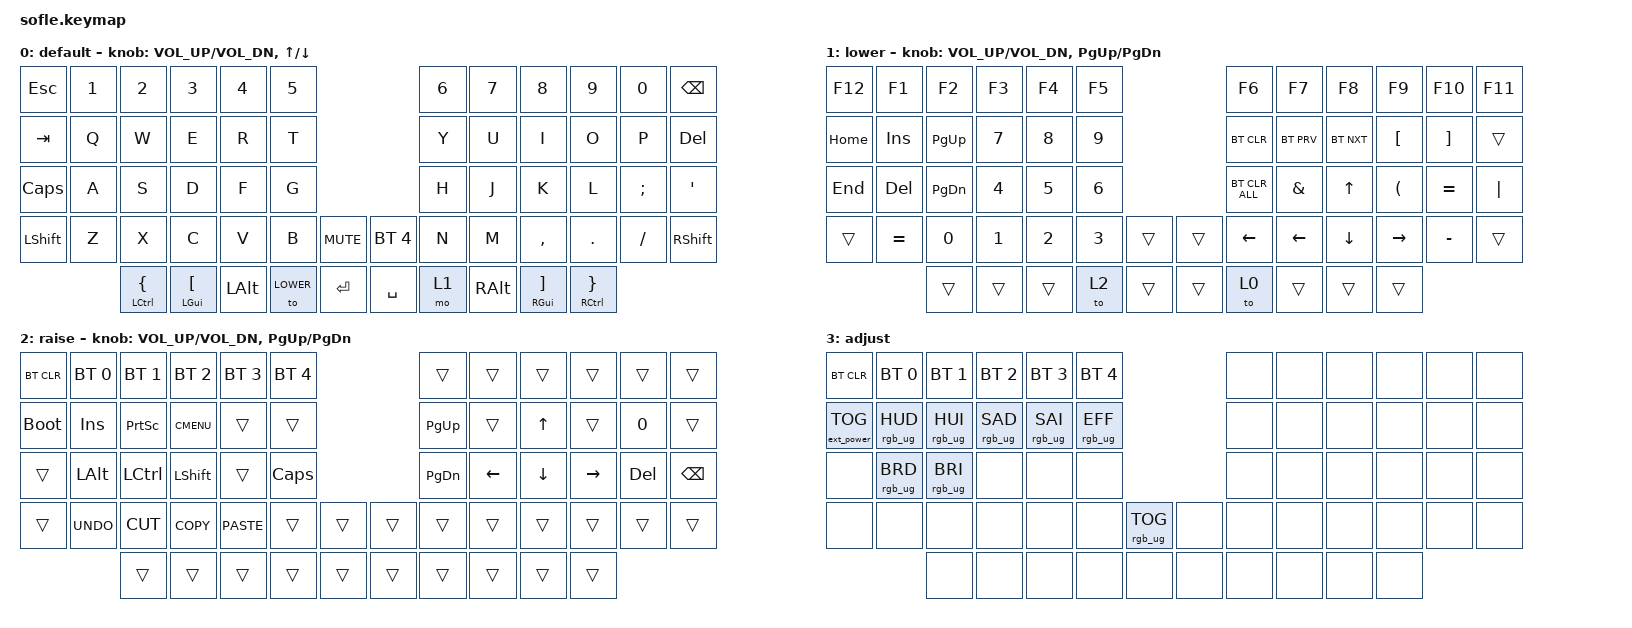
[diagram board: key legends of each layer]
/*
 * Copyright (c) 2020 The ZMK Contributors
 *
 * SPDX-License-Identifier: MIT
 */

#include <behaviors.dtsi>
#include <dt-bindings/zmk/bt.h>
#include <dt-bindings/zmk/ext_power.h>
#include <dt-bindings/zmk/keys.h>
#include <dt-bindings/zmk/rgb.h>

#define BASE 0
#define LOWER 1
#define RAISE 2
#define ADJUST 3

/ {
    // Activate ADJUST layer by pressing raise and lower

    conditional_layers {
        compatible = "zmk,conditional-layers";

        adjust_layer {
            if-layers = <LOWER RAISE>;
            then-layer = <ADJUST>;
        };
    };

    keymap {
        compatible = "zmk,keymap";

        default_layer {
            display-name = "default";

            // ------------------------------------------------------------------------------------------------------------
            // |   `   |  1  |  2  |  3   |  4   |  5   |                   |  6   |  7    |  8    |  9   |   0   |       |
            // |  ESC  |  Q  |  W  |  E   |  R   |  T   |                   |  Y   |  U    |  I    |  O   |   P   | BKSPC |
            // |  TAB  |  A  |  S  |  D   |  F   |  G   |                   |  H   |  J    |  K    |  L   |   ;   |   '   |
            // | SHIFT |  Z  |  X  |  C   |  V   |  B   |  MUTE  |  |       |  N   |  M    |  ,    |  .   |   /   | SHIFT |
            //               | GUI | ALT  | CTRL | LOWER|  ENTER |  | SPACE | RAISE| CTRL  | ALT   | GUI  |

            bindings = <
&kp ESCAPE  &kp N1  &kp N2          &kp N3                 &kp N4        &kp N5                                 &kp N6  &kp N7    &kp N8                  &kp N9          &kp N0    &kp BACKSPACE
&kp TAB     &kp Q   &kp W           &kp E                  &kp R         &kp T                                  &kp Y   &kp U     &kp I                   &kp O           &kp P     &kp DELETE
&kp CAPS    &kp A   &kp S           &kp D                  &kp F         &kp G                                  &kp H   &kp J     &kp K                   &kp L           &kp SEMI  &kp SQT
&kp LSHFT   &kp Z   &kp X           &kp C                  &kp V         &kp B      &kp C_MUTE    &bt BT_SEL 4  &kp N   &kp M     &kp COMMA               &kp DOT         &kp FSLH  &kp RSHFT
                    &mt LCTRL LBRC  &mt LGUI LEFT_BRACKET  &kp LEFT_ALT  &to LOWER  &kp RET       &kp SPACE     &mo 1   &kp RALT  &mt RGUI RIGHT_BRACKET  &mt RCTRL RBRC
            >;

            sensor-bindings =
                <&inc_dec_kp C_VOL_UP C_VOL_DN>,
                <&inc_dec_kp UP_ARROW DOWN>;
        };

        lower_layer {
            display-name = "lower";

            // TODO: Some binds are waiting for shifted keycode support.
            // ------------------------------------------------------------------------------------------------------------
            // |       |  F1 |  F2 |  F3  |  F4  |  F5  |                   |  F6  |  F7   |  F8   |  F9  |  F10  |  F11  |
            // |   `   |  1  |  2  |  3   |  4   |  5   |                   |  6   |  7    |  8    |  9   |   0   |  F12  |
            // |       |  !  |  @  |  #   |  $   |  %   |                   |  ^   |  &    |  *    |  (   |   )   |   |   |
            // |       |  =  |  -  |  +   |  {   |  }   |        |  |       |  [   |  ]    |  ;    |  :   |   \   |       |
            //               |     |      |      |      |        |  |       |      |       |       |      |

            bindings = <
&kp F12   &kp F1      &kp F2         &kp F3        &kp F4        &kp F5                          &kp F6          &kp F7          &kp F8          &kp F9            &kp F10            &kp F11
&kp HOME  &kp INSERT  &kp PAGE_UP    &kp NUMBER_7  &kp NUMBER_8  &kp NUMBER_9                    &bt BT_CLR      &bt BT_PRV      &bt BT_NXT      &kp LEFT_BRACKET  &kp RIGHT_BRACKET  &trans
&kp END   &kp DELETE  &kp PAGE_DOWN  &kp NUMBER_4  &kp NUMBER_5  &kp NUMBER_6                    &bt BT_CLR_ALL  &kp AMPS        &kp UP_ARROW    &kp LPAR          &kp EQUAL          &kp PIPE
&trans    &kp EQUAL   &kp NUMBER_0   &kp NUMBER_1  &kp NUMBER_2  &kp NUMBER_3  &trans    &trans  &kp LEFT_ARROW  &kp LEFT_ARROW  &kp DOWN_ARROW  &kp RIGHT_ARROW   &kp MINUS          &trans
                      &trans         &trans        &trans        &to 2         &trans    &trans  &to 0           &trans          &trans          &trans
            >;

            sensor-bindings = <&inc_dec_kp C_VOL_UP C_VOL_DN &inc_dec_kp PG_UP PG_DN>;
        };

        raise_layer {
            display-name = "raise";

            // ------------------------------------------------------------------------------------------------------------
            // | BTCLR | BT1  | BT2  |  BT3  |  BT4  |  BT5 |                |      |      |       |      |       |       |
            // |       | INS  | PSCR | GUI   |       |      |                | PGUP |      |   ^   |      |       |       |
            // |       | ALT  | CTRL | SHIFT |       | CAPS |                | PGDN |   <- |   v   |  ->  |  DEL  | BKSPC |
            // |       | UNDO | CUT  | COPY  | PASTE |      |      |  |      |      |      |       |      |       |       |
            //                |      |       |       |      |      |  |      |      |      |       |      |

            bindings = <
&bt BT_CLR   &bt BT_SEL 0  &bt BT_SEL 1  &bt BT_SEL 2  &bt BT_SEL 3  &bt BT_SEL 4                    &trans     &trans    &trans    &trans     &trans   &trans
&bootloader  &kp INS       &kp PSCRN     &kp K_CMENU   &trans        &trans                          &kp PG_UP  &trans    &kp UP    &trans     &kp N0   &trans
&trans       &kp LALT      &kp LCTRL     &kp LSHFT     &trans        &kp CLCK                        &kp PG_DN  &kp LEFT  &kp DOWN  &kp RIGHT  &kp DEL  &kp BSPC
&trans       &kp K_UNDO    &kp K_CUT     &kp K_COPY    &kp K_PASTE   &trans        &trans    &trans  &trans     &trans    &trans    &trans     &trans   &trans
                           &trans        &trans        &trans        &trans        &trans    &trans  &trans     &trans    &trans    &trans
            >;

            sensor-bindings = <&inc_dec_kp C_VOL_UP C_VOL_DN &inc_dec_kp PG_UP PG_DN>;
        };

        adjust_layer {
            // ----------------------------------------------------------------------------------------------------------------------------
            // | BTCLR  |  BT1    |  BT2    |   BT3   |   BT4   |   BT5   |                  |      |      |       |      |       |       |
            // | EXTPWR | RGB_HUD | RGB_HUI | RGB_SAD | RGB_SAI | RGB_EFF |                  |      |      |       |      |       |       |
            // |        | RGB_BRD | RGB_BRI |         |         |         |                  |      |      |       |      |       |       |
            // |        |         |         |         |         |         | RGB_TOG | |      |      |      |       |      |       |       |
            //                    |         |         |         |         |         | |      |      |      |       |      |

            display-name = "adjust";
            bindings = <
&bt BT_CLR         &bt BT_SEL 0     &bt BT_SEL 1     &bt BT_SEL 2     &bt BT_SEL 3     &bt BT_SEL 4                               &none  &none  &none  &none  &none  &none
&ext_power EP_TOG  &rgb_ug RGB_HUD  &rgb_ug RGB_HUI  &rgb_ug RGB_SAD  &rgb_ug RGB_SAI  &rgb_ug RGB_EFF                            &none  &none  &none  &none  &none  &none
&none              &rgb_ug RGB_BRD  &rgb_ug RGB_BRI  &none            &none            &none                                      &none  &none  &none  &none  &none  &none
&none              &none            &none            &none            &none            &none            &rgb_ug RGB_TOG    &none  &none  &none  &none  &none  &none  &none
                                    &none            &none            &none            &none            &none              &none  &none  &none  &none  &none
            >;
        };
    };
};
